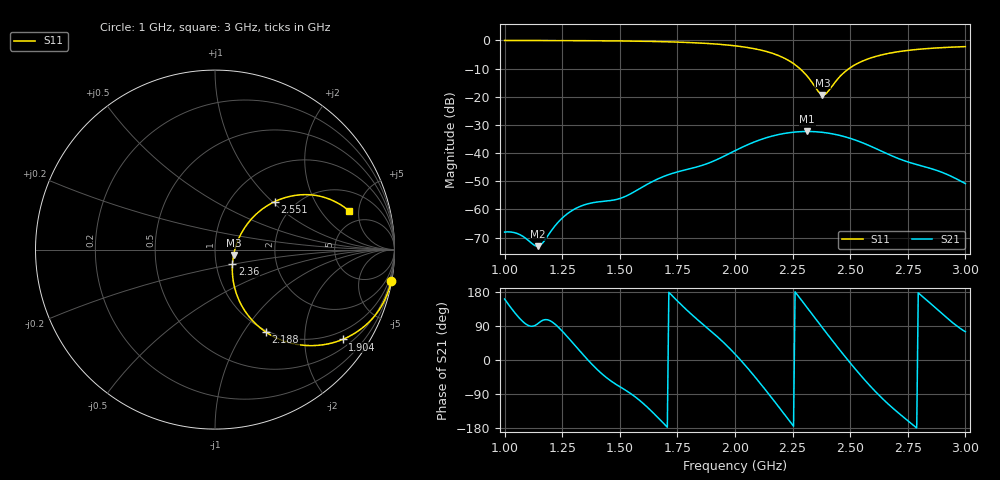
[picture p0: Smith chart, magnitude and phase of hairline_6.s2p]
! TOUCHSTONE file generated by CST MICROWAVE STUDIO
! Date and time: Tue Mar 18 20:31:37 2025
! Project name: hairline.cst
! Parameters = {B=12.5; D=160; F=15; Feed=2.85625; Fracture=2; L=100; M=50; R=0.384908; S=1.5; Theta=0; length=57.125; wave=114.25}
! Header version: 2024
! Port assignment regex: !\s*Touchstone port\s*([0-9]+)\s*=\s*(CST MWS port|CST DES external port|CST DES block port)\s*(.+)\s* \(\"(.*)\"\)(\s*mode\s*([0-9]+))?.*
! Touchstone port assignment:
! Touchstone port 1 = CST MWS port 1 ("")
! Touchstone port 2 = CST MWS port 2 ("")
# GHz S DB R 50
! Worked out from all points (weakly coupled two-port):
!   304 points, 1 GHz to 3 GHz, reference 50 ohm
!   highest |S21| = -32.33 dB at 2.314 GHz (marker M1); lowest = -73.0 dB at 1.145 GHz (marker M2)
!   lowest |S11| = -19.3 dB at 2.38 GHz (marker M3), VSWR 1.24, Z = 61.5 - j3.72 ohm
!   |S11| at or under -10 dB: 2.282 GHz to 2.495 GHz (213.5 MHz wide, 8.94 % of centre)
!   S12 and S22 are empty: the file has one direction only
!   S11 on the Smith chart (normalised r, x): 1 GHz: 0, -11; 1.904 GHz: 0.73, -3.00; 2.188 GHz: 0.98, -1.27; 2.36 GHz: 1.20, -0.20; 2.551 GHz: 1.58, +1.03; 3 GHz: 3.57, +3.88
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1  -0.02 -10.0  -68.04 161.0  -200.00 0.0  -200.00 0.0
1.05941  -0.03 -10.8  -68.69 113.8  -200.00 0.0  -200.00 0.0
1.14521  -0.04 -12.1  -73.04 96.4  -200.00 0.0  -200.00 0.0
1.16502  -0.04 -12.4  -71.89 104.7  -200.00 0.0  -200.00 0.0
1.25083  -0.07 -13.9  -63.01 75.7  -200.00 0.0  -200.00 0.0
1.33663  -0.10 -15.5  -58.63 16.7  -200.00 0.0  -200.00 0.0
1.50825  -0.20 -19.5  -55.89 -73.5  -200.00 0.0  -200.00 0.0
1.66667  -0.41 -24.3  -49.11 -152.7  -200.00 0.0  -200.00 0.0
1.90429  -1.21 -35.2  -42.93 71.6  -200.00 0.0  -200.00 0.0
2.0033  -1.96 -41.7  -39.02 13.7  -200.00 0.0  -200.00 0.0
2.18812  -5.36 -58.3  -33.43 -122.3  -200.00 0.0  -200.00 0.0
2.26073  -8.63 -64.2  -32.52 179.9  -200.00 0.0  -200.00 0.0
2.31353  -12.70 -62.3  -32.33 137.6  -200.00 0.0  -200.00 0.0
2.33993  -15.58 -54.2  -32.38 116.5  -200.00 0.0  -200.00 0.0
2.35974  -17.91 -40.1  -32.48 100.7  -200.00 0.0  -200.00 0.0
2.37954  -19.33 -16.1  -32.63 85.0  -200.00 0.0  -200.00 0.0
2.39934  -18.55 9.8  -32.84 69.4  -200.00 0.0  -200.00 0.0
2.47855  -11.04 40.4  -34.24 8.3  -200.00 0.0  -200.00 0.0
2.55116  -7.42 38.8  -36.26 -44.5  -200.00 0.0  -200.00 0.0
2.66997  -4.55 31.1  -40.58 -118.9  -200.00 0.0  -200.00 0.0
2.89439  -2.58 19.7  -46.70 124.4  -200.00 0.0  -200.00 0.0
3  -2.20 16.1  -50.82 74.6  -200.00 0.0  -200.00 0.0
